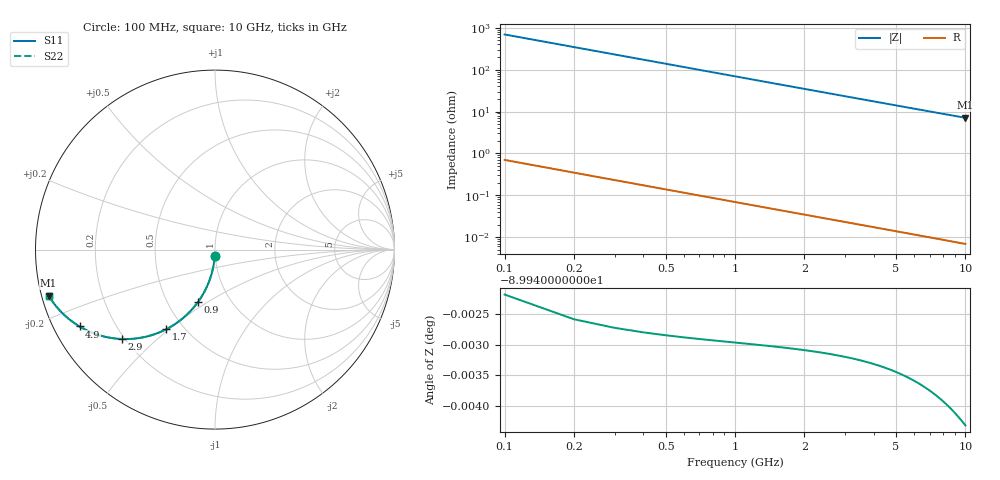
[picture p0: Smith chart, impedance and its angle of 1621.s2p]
# Hz S RI R 50.00
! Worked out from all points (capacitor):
!   100 points, 100 MHz to 10 GHz, reference 50 ohm
!   read as one part in shunt: C = 2.3 pF near 100 MHz
!   lowest |Z| = 7.08 ohm at 10 GHz (marker M1)
!   S11 on the Smith chart (normalised r, x): 100 MHz: 0.99, -0.07; 900 MHz: 0.70, -0.46; 1.7 GHz: 0.40, -0.49; 2.9 GHz: 0.19, -0.39; 4.9 GHz: 0.08, -0.26; 10 GHz: 0.02, -0.14
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1e8  -0.00133 -0.036  0.9987 -0.0361  0.9987 -0.0361  -0.00133 -0.036
2e8  -0.00525 -0.0717  0.9947 -0.0719  0.9947 -0.0719  -0.00525 -0.0717
3e8  -0.0117 -0.1069  0.9883 -0.1071  0.9883 -0.1071  -0.0117 -0.1069
4e8  -0.0205 -0.1412  0.9794 -0.1415  0.9794 -0.1415  -0.0205 -0.1412
5e8  -0.0317 -0.1745  0.9683 -0.1748  0.9683 -0.1748  -0.0317 -0.1745
6e8  -0.0449 -0.2065  0.955 -0.2069  0.955 -0.2069  -0.0449 -0.2065
7e8  -0.0601 -0.237  0.9398 -0.2375  0.9398 -0.2375  -0.0601 -0.237
9e8  -0.0955 -0.2932  0.9044 -0.2938  0.9044 -0.2938  -0.0955 -0.2932
1.1e9  -0.1361 -0.3421  0.8639 -0.3428  0.8639 -0.3428  -0.1361 -0.3421
1.3e9  -0.1802 -0.3834  0.8198 -0.3843  0.8198 -0.3843  -0.1802 -0.3834
1.7e9  -0.2728 -0.4443  0.7272 -0.4455  0.7272 -0.4455  -0.2728 -0.4443
1.8e9  -0.2959 -0.4554  0.704 -0.4566  0.704 -0.4566  -0.2959 -0.4554
2.3e9  -0.4064 -0.4899  0.5936 -0.4914  0.5936 -0.4914  -0.4064 -0.4899
2.9e9  -0.5205 -0.4981  0.4795 -0.5001  0.4795 -0.5001  -0.5205 -0.4981
3.4e9  -0.5982 -0.4886  0.4017 -0.4909  0.4017 -0.4909  -0.5982 -0.4886
4.1e9  -0.6835 -0.4632  0.3165 -0.466  0.3165 -0.466  -0.6835 -0.4632
4.9e9  -0.7547 -0.4281  0.2453 -0.4314  0.2453 -0.4314  -0.7547 -0.4281
5.1e9  -0.7691 -0.4191  0.2308 -0.4226  0.2308 -0.4226  -0.7691 -0.4191
5.9e9  -0.8165 -0.3845  0.1835 -0.3886  0.1835 -0.3886  -0.8165 -0.3845
6.7e9  -0.8514 -0.3528  0.1486 -0.3575  0.1486 -0.3575  -0.8514 -0.3528
8.4e9  -0.8999 -0.2967  0.1001 -0.3026  0.1001 -0.3026  -0.8999 -0.2967
1e10  -0.9271 -0.2559  0.0728 -0.2629  0.0728 -0.2629  -0.9271 -0.2559
